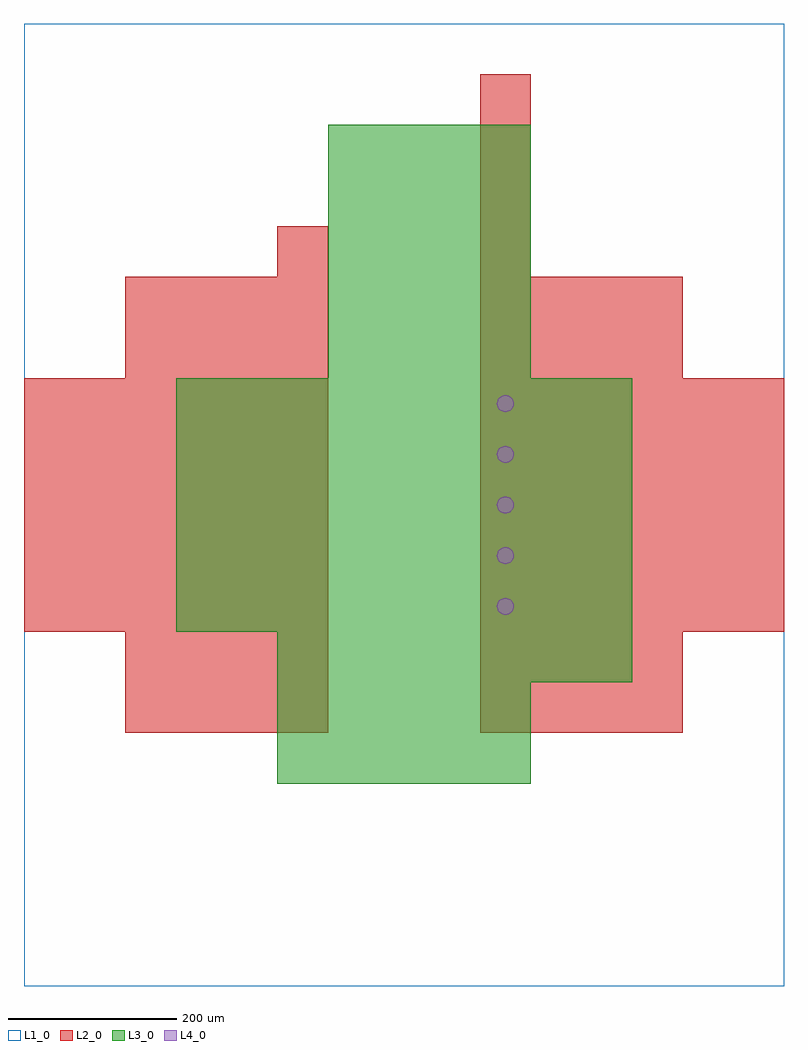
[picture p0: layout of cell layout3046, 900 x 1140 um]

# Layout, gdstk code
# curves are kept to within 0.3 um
import gdstk
lib = gdstk.Library(unit=1e-6, precision=1e-09)
def R(c, l, rs):  # rectangles x0, y0, x1, y1
    for r in rs: c.add(gdstk.rectangle(r[:2], r[2:], *l))
def A(c, l, x, y, w, h, nx, ny, dx, dy):  # array of equal rectangles
    R(c, l, [(x+i*dx, y+j*dy, x+i*dx+w, y+j*dy+h) for i in range(nx) for j in range(ny)])
def P(c, l, *ps):  # polygons
    for p in ps: c.add(gdstk.Polygon(p, *l))
L1_0 = (1, 0)
L2_0 = (2, 0)
L3_0 = (3, 0)
L4_0 = (4, 0)

layout3046 = lib.new_cell('layout3046')
R(layout3046, L1_0, [(0,0,900,1140)])
A(layout3046, L2_0, 120, 300, 60, 60, 4, 2, 60, 60)
A(layout3046, L2_0, 540, 300, 60, 60, 4, 2, 60, 60)
A(layout3046, L2_0, 0, 420, 60, 60, 6, 5, 60, 60)
A(layout3046, L2_0, 540, 420, 60, 60, 6, 5, 60, 60)
A(layout3046, L2_0, 120, 720, 60, 60, 4, 2, 60, 60)
A(layout3046, L2_0, 540, 720, 60, 60, 4, 2, 60, 60)
A(layout3046, L2_0, 540, 840, 60, 60, 1, 4, 0, 60)
R(layout3046, L2_0, [(300,840,360,900)])
A(layout3046, L3_0, 300, 240, 60, 60, 5, 2, 60, 60)
A(layout3046, L3_0, 300, 360, 60, 60, 7, 1, 60, 0)
A(layout3046, L3_0, 180, 420, 60, 60, 9, 5, 60, 60)
A(layout3046, L3_0, 360, 720, 60, 60, 4, 5, 60, 60)
P(layout3046, L4_0, [(580,450),(579.239,453.827),(577.071,457.071),(573.827,459.239),(570,460),(566.173,459.239),(562.929,457.071),(560.761,453.827),(560,450),(560.761,446.173),(562.929,442.929),(566.173,440.761),(570,440),(573.827,440.761),(577.071,442.929),(579.239,446.173)],
  [(580,510),(579.239,513.827),(577.071,517.071),(573.827,519.239),(570,520),(566.173,519.239),(562.929,517.071),(560.761,513.827),(560,510),(560.761,506.173),(562.929,502.929),(566.173,500.761),(570,500),(573.827,500.761),(577.071,502.929),(579.239,506.173)],
  [(580,570),(579.239,573.827),(577.071,577.071),(573.827,579.239),(570,580),(566.173,579.239),(562.929,577.071),(560.761,573.827),(560,570),(560.761,566.173),(562.929,562.929),(566.173,560.761),(570,560),(573.827,560.761),(577.071,562.929),(579.239,566.173)],
  [(580,630),(579.239,633.827),(577.071,637.071),(573.827,639.239),(570,640),(566.173,639.239),(562.929,637.071),(560.761,633.827),(560,630),(560.761,626.173),(562.929,622.929),(566.173,620.761),(570,620),(573.827,620.761),(577.071,622.929),(579.239,626.173)],
  [(580,690),(579.239,693.827),(577.071,697.071),(573.827,699.239),(570,700),(566.173,699.239),(562.929,697.071),(560.761,693.827),(560,690),(560.761,686.173),(562.929,682.929),(566.173,680.761),(570,680),(573.827,680.761),(577.071,682.929),(579.239,686.173)])

lib.write_gds('layout3046.gds')
